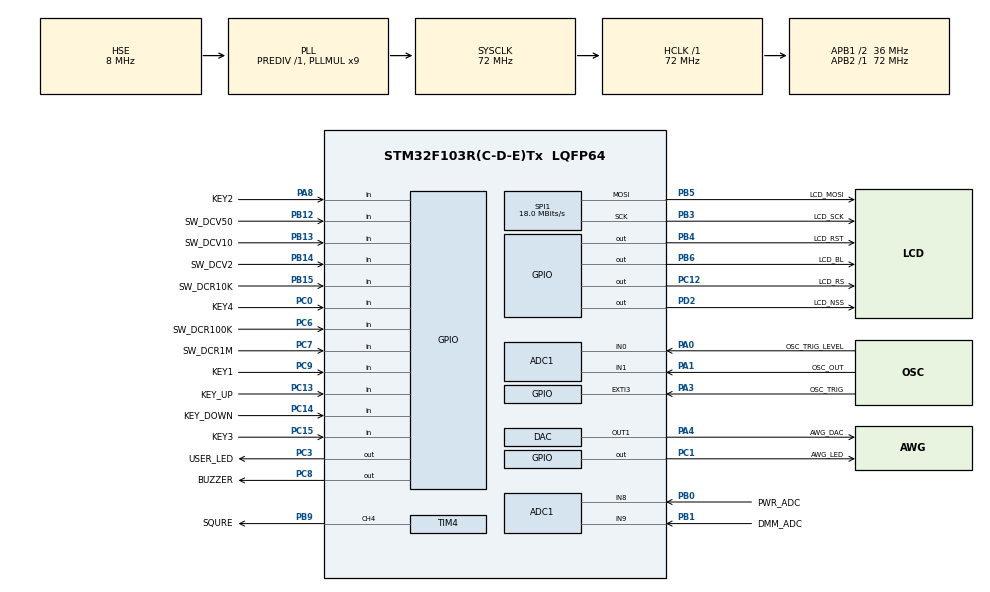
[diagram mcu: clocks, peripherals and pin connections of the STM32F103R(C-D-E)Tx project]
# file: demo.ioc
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ADC1.Channel-0\#ChannelRegularConversion=ADC_CHANNEL_1
ADC1.Channel-1\#ChannelInjectedConversion=ADC_CHANNEL_8
ADC1.Channel-2\#ChannelInjectedConversion=ADC_CHANNEL_9
ADC1.Channel-3\#ChannelInjectedConversion=ADC_CHANNEL_0
ADC1.Channel-4\#ChannelInjectedConversion=ADC_CHANNEL_VREFINT
ADC1.EnableInjectedConversion=ENABLE
ADC1.ExternalTrigConv=ADC_EXTERNALTRIGCONV_T3_TRGO
ADC1.ExternalTrigInjecConv=ADC_EXTERNALTRIGINJECCONV_T2_TRGO
ADC1.InjNumberOfConversion=4
ADC1.InjectedOffset-1\#ChannelInjectedConversion=0
ADC1.InjectedOffset-2\#ChannelInjectedConversion=0
ADC1.InjectedOffset-3\#ChannelInjectedConversion=0
ADC1.InjectedOffset-4\#ChannelInjectedConversion=0
ADC1.InjectedRank-1\#ChannelInjectedConversion=1
ADC1.InjectedRank-2\#ChannelInjectedConversion=2
ADC1.InjectedRank-3\#ChannelInjectedConversion=3
ADC1.InjectedRank-4\#ChannelInjectedConversion=4
ADC1.NbrOfConversionFlag=1
ADC1.Rank-0\#ChannelRegularConversion=1
ADC1.SamplingTime-0\#ChannelRegularConversion=ADC_SAMPLETIME_1CYCLE_5
ADC1.SamplingTime-1\#ChannelInjectedConversion=ADC_SAMPLETIME_1CYCLE_5
ADC1.SamplingTime-2\#ChannelInjectedConversion=ADC_SAMPLETIME_1CYCLE_5
ADC1.SamplingTime-3\#ChannelInjectedConversion=ADC_SAMPLETIME_1CYCLE_5
ADC1.SamplingTime-4\#ChannelInjectedConversion=ADC_SAMPLETIME_239CYCLES_5
ADC1.master=1
DAC.DAC_OutputBuffer=DAC_OUTPUTBUFFER_DISABLE
DAC.DAC_Trigger=DAC_TRIGGER_T5_TRGO
Dma.ADC1.0.Direction=DMA_PERIPH_TO_MEMORY
Dma.ADC1.0.Instance=DMA1_Channel1
Dma.ADC1.0.MemDataAlignment=DMA_MDATAALIGN_HALFWORD
Dma.ADC1.0.MemInc=DMA_MINC_ENABLE
Dma.ADC1.0.Mode=DMA_NORMAL
Dma.ADC1.0.PeriphDataAlignment=DMA_PDATAALIGN_HALFWORD
Dma.ADC1.0.PeriphInc=DMA_PINC_DISABLE
Dma.ADC1.0.Priority=DMA_PRIORITY_LOW
Dma.DAC_CH1.2.Direction=DMA_MEMORY_TO_PERIPH
Dma.DAC_CH1.2.Instance=DMA2_Channel3
Dma.DAC_CH1.2.MemDataAlignment=DMA_MDATAALIGN_HALFWORD
Dma.DAC_CH1.2.MemInc=DMA_MINC_ENABLE
Dma.DAC_CH1.2.Mode=DMA_CIRCULAR
Dma.DAC_CH1.2.PeriphDataAlignment=DMA_PDATAALIGN_HALFWORD
Dma.DAC_CH1.2.PeriphInc=DMA_PINC_DISABLE
Dma.DAC_CH1.2.Priority=DMA_PRIORITY_LOW
Dma.Request0=ADC1
Dma.Request1=SPI1_TX
Dma.Request2=DAC_CH1
Dma.SPI1_TX.1.Direction=DMA_MEMORY_TO_PERIPH
Dma.SPI1_TX.1.Instance=DMA1_Channel3
Dma.SPI1_TX.1.MemDataAlignment=DMA_MDATAALIGN_BYTE
Dma.SPI1_TX.1.MemInc=DMA_MINC_ENABLE
Dma.SPI1_TX.1.Mode=DMA_NORMAL
Dma.SPI1_TX.1.PeriphDataAlignment=DMA_PDATAALIGN_BYTE
Dma.SPI1_TX.1.PeriphInc=DMA_PINC_DISABLE
Dma.SPI1_TX.1.Priority=DMA_PRIORITY_LOW
Mcu.Family=STM32F1
Mcu.Name=STM32F103R(C-D-E)Tx
Mcu.Package=LQFP64
NVIC.ADC1_2_IRQn=true\:6\:0\:true\:false\:true\:true\:true\:true
NVIC.DMA1_Channel1_IRQn=true\:6\:0\:true\:false\:true\:false\:true\:true
NVIC.DMA1_Channel3_IRQn=true\:6\:0\:true\:false\:true\:false\:true\:true
NVIC.DMA2_Channel3_IRQn=true\:0\:0\:false\:false\:true\:false\:true\:true
NVIC.EXTI3_IRQn=true\:6\:0\:true\:false\:true\:true\:true\:true
NVIC.PriorityGroup=NVIC_PRIORITYGROUP_4
NVIC.TIM6_IRQn=true\:0\:0\:true\:false\:true\:false\:true\:true
NVIC.TimeBase=TIM6_IRQn
NVIC.TimeBaseIP=TIM6
PA0-WKUP.GPIO_Label=OSC_TRIG_LEVEL
PA0-WKUP.Signal=ADCx_IN0
PA1.GPIO_Label=OSC_OUT
PA1.Signal=ADCx_IN1
PA13.Mode=Serial_Wire
PA13.Signal=SYS_JTMS-SWDIO
PA14.Mode=Serial_Wire
PA14.Signal=SYS_JTCK-SWCLK
PA3.GPIO_Label=OSC_TRIG
PA3.Signal=GPXTI3
PA4.GPIO_Label=AWG_DAC
PA4.Signal=COMP_DAC1_group
PA8.GPIO_Label=KEY2
PA8.GPIO_PuPd=GPIO_PULLUP
PA8.Signal=GPIO_Input
PB0.GPIO_Label=PWR_ADC
PB0.Signal=ADCx_IN8
PB1.GPIO_Label=DMM_ADC
PB1.Signal=ADCx_IN9
PB12.GPIO_Label=SW_DCV50
PB12.GPIO_PuPd=GPIO_PULLDOWN
PB12.Signal=GPIO_Input
PB13.GPIO_Label=SW_DCV10
PB13.GPIO_PuPd=GPIO_PULLDOWN
PB13.Signal=GPIO_Input
PB14.GPIO_Label=SW_DCV2
PB14.GPIO_PuPd=GPIO_PULLDOWN
PB14.Signal=GPIO_Input
PB15.GPIO_Label=SW_DCR10K
PB15.GPIO_PuPd=GPIO_PULLDOWN
PB15.Signal=GPIO_Input
PB3.GPIO_Label=LCD_SCK
PB3.Mode=TX_Only_Simplex_Unidirect_Master
PB3.Signal=SPI1_SCK
PB4.GPIO_Label=LCD_RST
PB4.GPIO_Speed=GPIO_SPEED_FREQ_HIGH
PB4.PinState=GPIO_PIN_SET
PB4.Signal=GPIO_Output
PB5.GPIO_Label=LCD_MOSI
PB5.Mode=TX_Only_Simplex_Unidirect_Master
PB5.Signal=SPI1_MOSI
PB6.GPIO_Label=LCD_BL
PB6.PinState=GPIO_PIN_SET
PB6.Signal=GPIO_Output
PB9.GPIO_Label=SQURE
PB9.Signal=S_TIM4_CH4
PC0.GPIO_Label=KEY4
PC0.GPIO_PuPd=GPIO_PULLUP
PC0.Signal=GPIO_Input
PC1.GPIO_Label=AWG_LED
PC1.Signal=GPIO_Output
PC12.GPIO_Label=LCD_RS
PC12.GPIO_Speed=GPIO_SPEED_FREQ_HIGH
PC12.Signal=GPIO_Output
PC13-TAMPER-RTC.GPIO_Label=KEY_UP
PC13-TAMPER-RTC.GPIO_PuPd=GPIO_PULLUP
PC13-TAMPER-RTC.Signal=GPIO_Input
PC14-OSC32_IN.GPIO_Label=KEY_DOWN
PC14-OSC32_IN.GPIO_PuPd=GPIO_PULLUP
PC14-OSC32_IN.Signal=GPIO_Input
PC15-OSC32_OUT.GPIO_Label=KEY3
PC15-OSC32_OUT.GPIO_PuPd=GPIO_PULLUP
PC15-OSC32_OUT.Signal=GPIO_Input
PC3.GPIO_Label=USER_LED
PC3.Signal=GPIO_Output
PC6.GPIO_Label=SW_DCR100K
PC6.GPIO_PuPd=GPIO_PULLDOWN
PC6.Signal=GPIO_Input
PC7.GPIO_Label=SW_DCR1M
PC7.GPIO_PuPd=GPIO_PULLDOWN
PC7.Signal=GPIO_Input
PC8.GPIO_Label=BUZZER
PC8.Signal=GPIO_Output
PC9.GPIO_Label=KEY1
PC9.GPIO_PuPd=GPIO_PULLUP
PC9.Signal=GPIO_Input
PD0-OSC_IN.Mode=HSE-External-Oscillator
PD0-OSC_IN.Signal=RCC_OSC_IN
PD1-OSC_OUT.Mode=HSE-External-Oscillator
PD1-OSC_OUT.Signal=RCC_OSC_OUT
PD2.GPIO_Label=LCD_NSS
PD2.GPIO_Speed=GPIO_SPEED_FREQ_HIGH
PD2.PinState=GPIO_PIN_SET
PD2.Signal=GPIO_Output
ProjectManager.HeapSize=0x200
ProjectManager.StackSize=0x200
ProjectManager.TargetToolchain=STM32CubeIDE
RCC.ADCPresc=RCC_ADCPCLK2_DIV6
RCC.AHBFreq_Value=72000000
RCC.APB1CLKDivider=RCC_HCLK_DIV2
RCC.APB1Freq_Value=36000000
RCC.APB1TimFreq_Value=72000000
RCC.APB2Freq_Value=72000000
RCC.APB2TimFreq_Value=72000000
RCC.HCLKFreq_Value=72000000
RCC.PLLMUL=RCC_PLL_MUL9
RCC.PLLSourceVirtual=RCC_PLLSOURCE_HSE
RCC.SYSCLKFreq_VALUE=72000000
RCC.SYSCLKSource=RCC_SYSCLKSOURCE_PLLCLK
RCC.USBFreq_Value=72000000
SH.ADCx_IN0.0=ADC1_IN0,IN0
SH.ADCx_IN1.0=ADC1_IN1,IN1
SH.ADCx_IN8.0=ADC1_IN8,IN8
SH.ADCx_IN9.0=ADC1_IN9,IN9
SH.COMP_DAC1_group.0=DAC_OUT1,DAC_OUT1
SH.S_TIM4_CH4.0=TIM4_CH4,PWM Generation4 CH4
SPI1.BaudRatePrescaler=SPI_BAUDRATEPRESCALER_4
SPI1.CalculateBaudRate=18.0 MBits/s
SPI1.Direction=SPI_DIRECTION_2LINES
SPI1.Mode=SPI_MODE_MASTER
SPI1.VirtualType=VM_MASTER
TIM2.Period=999
TIM2.Prescaler=7199
TIM2.TIM_MasterOutputTrigger=TIM_TRGO_UPDATE
TIM3.AutoReloadPreload=TIM_AUTORELOAD_PRELOAD_ENABLE
TIM3.Period=1
TIM3.Prescaler=5
TIM3.TIM_MasterOutputTrigger=TIM_TRGO_UPDATE
TIM4.Channel-PWM\ Generation4\ CH4=TIM_CHANNEL_4
TIM4.Period=999
TIM4.Prescaler=71
TIM4.Pulse-PWM\ Generation4\ CH4=499
TIM5.AutoReloadPreload=TIM_AUTORELOAD_PRELOAD_ENABLE
TIM5.Period=1
TIM5.Prescaler=71
TIM5.TIM_MasterOutputTrigger=TIM_TRGO_UPDATE
VP_ADC1_Vref_Input.Mode=IN-Vrefint
VP_SYS_VS_tim6.Mode=TIM6
VP_TIM2_VS_ClockSourceINT.Mode=Internal
VP_TIM3_VS_ClockSourceINT.Mode=Internal
VP_TIM4_VS_ClockSourceINT.Mode=Internal
VP_TIM5_VS_ClockSourceINT.Mode=Internal
board=custom

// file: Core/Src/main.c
/* USER CODE BEGIN Header */
/**
  ******************************************************************************
  * @file           : main.c
  * @brief          : Main program body
  ******************************************************************************
  * @attention
  *
  * Copyright (c) 2025 STMicroelectronics.
  * All rights reserved.
  *
  * This software is licensed under terms that can be found in the LICENSE file
  * in the root directory of this software component.
  * If no LICENSE file comes with this software, it is provided AS-IS.
  *
  ******************************************************************************
  */
/* USER CODE END Header */
#include "main.h"

/* USER CODE BEGIN Includes */
#include "FreeRTOS.h"
#include "task.h"
#include "key_task.h"
#include "lcd_task.h"
#include "led_task.h"
#include "jadc.h"
#include "waveform_capturer.h"
#include "waveform_generator.h"
#include "buzzer_task.h"
/* USER CODE END Includes */

ADC_HandleTypeDef hadc1;
DMA_HandleTypeDef hdma_adc1;

DAC_HandleTypeDef hdac;
DMA_HandleTypeDef hdma_dac_ch1;

SPI_HandleTypeDef hspi1;
DMA_HandleTypeDef hdma_spi1_tx;

TIM_HandleTypeDef htim2;
TIM_HandleTypeDef htim3;
TIM_HandleTypeDef htim4;
TIM_HandleTypeDef htim5;

/* USER CODE BEGIN PV */
TaskHandle_t lcdTask; // 显示屏任务
TaskHandle_t keyTask; // 按钮检测任务
/* USER CODE END PV */

void SystemClock_Config(void);
static void MX_GPIO_Init(void);
static void MX_DMA_Init(void);
static void MX_ADC1_Init(void);
static void MX_TIM3_Init(void);
static void MX_DAC_Init(void);
static void MX_TIM5_Init(void);
static void MX_SPI1_Init(void);
static void MX_TIM4_Init(void);
static void MX_TIM2_Init(void);

int main(void)
{

  /* MCU Configuration--------------------------------------------------------*/

  /* Reset of all peripherals, Initializes the Flash interface and the Systick. */
  HAL_Init();

  /* Configure the system clock */
  SystemClock_Config();

  /* Initialize all configured peripherals */
  MX_GPIO_Init();
  MX_DMA_Init();
  MX_ADC1_Init();
  MX_TIM3_Init();
  MX_DAC_Init();
  MX_TIM5_Init();
  MX_SPI1_Init();
  MX_TIM4_Init();
  MX_TIM2_Init();
  /* USER CODE BEGIN 2 */
  vLCDInit();
  JADC_Init();
  WaveformCapture_Init();
  WaveformGenerator_Init();
  Buzzer_Init();

  xTaskCreate(vLEDTask, "LED Task", 128, NULL, 1, NULL);
  xTaskCreate(vLCDTask, "LCD Task", 256, NULL, 1, &lcdTask);
  xTaskCreate(vKeyTask, "Button Task", 128, NULL, 2, &keyTask);
  xTaskCreate(vBuzzerTask, "Buzzer Task", 128, NULL, 1, NULL);

  vTaskStartScheduler();
  /* USER CODE END 2 */

  /* Infinite loop */
  while (1)
  {

  }
}

void SystemClock_Config(void)
{
  RCC_OscInitTypeDef RCC_OscInitStruct = {0};
  RCC_ClkInitTypeDef RCC_ClkInitStruct = {0};
  RCC_PeriphCLKInitTypeDef PeriphClkInit = {0};

  /** Initializes the RCC Oscillators according to the specified parameters
  * in the RCC_OscInitTypeDef structure.
  */
  RCC_OscInitStruct.OscillatorType = RCC_OSCILLATORTYPE_HSE;
  RCC_OscInitStruct.HSEState = RCC_HSE_ON;
  RCC_OscInitStruct.HSEPredivValue = RCC_HSE_PREDIV_DIV1;
  RCC_OscInitStruct.HSIState = RCC_HSI_ON;
  RCC_OscInitStruct.PLL.PLLState = RCC_PLL_ON;
  RCC_OscInitStruct.PLL.PLLSource = RCC_PLLSOURCE_HSE;
  RCC_OscInitStruct.PLL.PLLMUL = RCC_PLL_MUL9;
  if (HAL_RCC_OscConfig(&RCC_OscInitStruct) != HAL_OK)
  {
    Error_Handler();
  }

  /** Initializes the CPU, AHB and APB buses clocks
  */
  RCC_ClkInitStruct.ClockType = RCC_CLOCKTYPE_HCLK|RCC_CLOCKTYPE_SYSCLK
                              |RCC_CLOCKTYPE_PCLK1|RCC_CLOCKTYPE_PCLK2;
  RCC_ClkInitStruct.SYSCLKSource = RCC_SYSCLKSOURCE_PLLCLK;
  RCC_ClkInitStruct.AHBCLKDivider = RCC_SYSCLK_DIV1;
  RCC_ClkInitStruct.APB1CLKDivider = RCC_HCLK_DIV2;
  RCC_ClkInitStruct.APB2CLKDivider = RCC_HCLK_DIV1;

  if (HAL_RCC_ClockConfig(&RCC_ClkInitStruct, FLASH_LATENCY_2) != HAL_OK)
  {
    Error_Handler();
  }
  PeriphClkInit.PeriphClockSelection = RCC_PERIPHCLK_ADC;
  PeriphClkInit.AdcClockSelection = RCC_ADCPCLK2_DIV6;
  if (HAL_RCCEx_PeriphCLKConfig(&PeriphClkInit) != HAL_OK)
  {
    Error_Handler();
  }
}

static void MX_ADC1_Init(void)
{

  ADC_ChannelConfTypeDef sConfig = {0};
  ADC_InjectionConfTypeDef sConfigInjected = {0};

  /** Common config
  */
  hadc1.Instance = ADC1;
  hadc1.Init.ScanConvMode = ADC_SCAN_ENABLE;
  hadc1.Init.ContinuousConvMode = DISABLE;
  hadc1.Init.DiscontinuousConvMode = DISABLE;
  hadc1.Init.ExternalTrigConv = ADC_EXTERNALTRIGCONV_T3_TRGO;
  hadc1.Init.DataAlign = ADC_DATAALIGN_RIGHT;
  hadc1.Init.NbrOfConversion = 1;
  if (HAL_ADC_Init(&hadc1) != HAL_OK)
  {
    Error_Handler();
  }

  /** Configure Regular Channel
  */
  sConfig.Channel = ADC_CHANNEL_1;
  sConfig.Rank = ADC_REGULAR_RANK_1;
  sConfig.SamplingTime = ADC_SAMPLETIME_1CYCLE_5;
  if (HAL_ADC_ConfigChannel(&hadc1, &sConfig) != HAL_OK)
  {
    Error_Handler();
  }

  /** Configure Injected Channel
  */
  sConfigInjected.InjectedChannel = ADC_CHANNEL_8;
  sConfigInjected.InjectedRank = ADC_INJECTED_RANK_1;
  sConfigInjected.InjectedNbrOfConversion = 4;
  sConfigInjected.InjectedSamplingTime = ADC_SAMPLETIME_1CYCLE_5;
  sConfigInjected.ExternalTrigInjecConv = ADC_EXTERNALTRIGINJECCONV_T2_TRGO;
  sConfigInjected.AutoInjectedConv = DISABLE;
  sConfigInjected.InjectedDiscontinuousConvMode = DISABLE;
  sConfigInjected.InjectedOffset = 0;
  if (HAL_ADCEx_InjectedConfigChannel(&hadc1, &sConfigInjected) != HAL_OK)
  {
    Error_Handler();
  }

  /** Configure Injected Channel
  */
  sConfigInjected.InjectedChannel = ADC_CHANNEL_9;
  sConfigInjected.InjectedRank = ADC_INJECTED_RANK_2;
  if (HAL_ADCEx_InjectedConfigChannel(&hadc1, &sConfigInjected) != HAL_OK)
  {
    Error_Handler();
  }

  /** Configure Injected Channel
  */
  sConfigInjected.InjectedChannel = ADC_CHANNEL_0;
  sConfigInjected.InjectedRank = ADC_INJECTED_RANK_3;
  if (HAL_ADCEx_InjectedConfigChannel(&hadc1, &sConfigInjected) != HAL_OK)
  {
    Error_Handler();
  }

  /** Configure Injected Channel
  */
  sConfigInjected.InjectedChannel = ADC_CHANNEL_VREFINT;
  sConfigInjected.InjectedRank = ADC_INJECTED_RANK_4;
  sConfigInjected.InjectedSamplingTime = ADC_SAMPLETIME_239CYCLES_5;
  if (HAL_ADCEx_InjectedConfigChannel(&hadc1, &sConfigInjected) != HAL_OK)
  {
    Error_Handler();
  }

}

static void MX_DAC_Init(void)
{

  DAC_ChannelConfTypeDef sConfig = {0};

  /** DAC Initialization
  */
  hdac.Instance = DAC;
  if (HAL_DAC_Init(&hdac) != HAL_OK)
  {
    Error_Handler();
  }

  /** DAC channel OUT1 config
  */
  sConfig.DAC_Trigger = DAC_TRIGGER_T5_TRGO;
  sConfig.DAC_OutputBuffer = DAC_OUTPUTBUFFER_DISABLE;
  if (HAL_DAC_ConfigChannel(&hdac, &sConfig, DAC_CHANNEL_1) != HAL_OK)
  {
    Error_Handler();
  }

}

static void MX_SPI1_Init(void)
{

  /* SPI1 parameter configuration*/
  hspi1.Instance = SPI1;
  hspi1.Init.Mode = SPI_MODE_MASTER;
  hspi1.Init.Direction = SPI_DIRECTION_2LINES;
  hspi1.Init.DataSize = SPI_DATASIZE_8BIT;
  hspi1.Init.CLKPolarity = SPI_POLARITY_LOW;
  hspi1.Init.CLKPhase = SPI_PHASE_1EDGE;
  hspi1.Init.NSS = SPI_NSS_SOFT;
  hspi1.Init.BaudRatePrescaler = SPI_BAUDRATEPRESCALER_4;
  hspi1.Init.FirstBit = SPI_FIRSTBIT_MSB;
  hspi1.Init.TIMode = SPI_TIMODE_DISABLE;
  hspi1.Init.CRCCalculation = SPI_CRCCALCULATION_DISABLE;
  hspi1.Init.CRCPolynomial = 10;
  if (HAL_SPI_Init(&hspi1) != HAL_OK)
  {
    Error_Handler();
  }

}

static void MX_TIM2_Init(void)
{

  TIM_ClockConfigTypeDef sClockSourceConfig = {0};
  TIM_MasterConfigTypeDef sMasterConfig = {0};

  htim2.Instance = TIM2;
  htim2.Init.Prescaler = 7199;
  htim2.Init.CounterMode = TIM_COUNTERMODE_UP;
  htim2.Init.Period = 999;
  htim2.Init.ClockDivision = TIM_CLOCKDIVISION_DIV1;
  htim2.Init.AutoReloadPreload = TIM_AUTORELOAD_PRELOAD_DISABLE;
  if (HAL_TIM_Base_Init(&htim2) != HAL_OK)
  {
    Error_Handler();
  }
  sClockSourceConfig.ClockSource = TIM_CLOCKSOURCE_INTERNAL;
  if (HAL_TIM_ConfigClockSource(&htim2, &sClockSourceConfig) != HAL_OK)
  {
    Error_Handler();
  }
  sMasterConfig.MasterOutputTrigger = TIM_TRGO_UPDATE;
  sMasterConfig.MasterSlaveMode = TIM_MASTERSLAVEMODE_DISABLE;
  if (HAL_TIMEx_MasterConfigSynchronization(&htim2, &sMasterConfig) != HAL_OK)
  {
    Error_Handler();
  }

}

static void MX_TIM3_Init(void)
{

  TIM_ClockConfigTypeDef sClockSourceConfig = {0};
  TIM_MasterConfigTypeDef sMasterConfig = {0};

  htim3.Instance = TIM3;
  htim3.Init.Prescaler = 5;
  htim3.Init.CounterMode = TIM_COUNTERMODE_UP;
  htim3.Init.Period = 1;
  htim3.Init.ClockDivision = TIM_CLOCKDIVISION_DIV1;
  htim3.Init.AutoReloadPreload = TIM_AUTORELOAD_PRELOAD_ENABLE;
  if (HAL_TIM_Base_Init(&htim3) != HAL_OK)
  {
    Error_Handler();
  }
  sClockSourceConfig.ClockSource = TIM_CLOCKSOURCE_INTERNAL;
  if (HAL_TIM_ConfigClockSource(&htim3, &sClockSourceConfig) != HAL_OK)
  {
    Error_Handler();
  }
  sMasterConfig.MasterOutputTrigger = TIM_TRGO_UPDATE;
  sMasterConfig.MasterSlaveMode = TIM_MASTERSLAVEMODE_DISABLE;
  if (HAL_TIMEx_MasterConfigSynchronization(&htim3, &sMasterConfig) != HAL_OK)
  {
    Error_Handler();
  }

}

static void MX_TIM4_Init(void)
{

  TIM_ClockConfigTypeDef sClockSourceConfig = {0};
  TIM_MasterConfigTypeDef sMasterConfig = {0};
  TIM_OC_InitTypeDef sConfigOC = {0};

  htim4.Instance = TIM4;
  htim4.Init.Prescaler = 71;
  htim4.Init.CounterMode = TIM_COUNTERMODE_UP;
  htim4.Init.Period = 999;
  htim4.Init.ClockDivision = TIM_CLOCKDIVISION_DIV1;
  htim4.Init.AutoReloadPreload = TIM_AUTORELOAD_PRELOAD_DISABLE;
  if (HAL_TIM_Base_Init(&htim4) != HAL_OK)
  {
    Error_Handler();
  }
  sClockSourceConfig.ClockSource = TIM_CLOCKSOURCE_INTERNAL;
  if (HAL_TIM_ConfigClockSource(&htim4, &sClockSourceConfig) != HAL_OK)
  {
    Error_Handler();
  }
  if (HAL_TIM_PWM_Init(&htim4) != HAL_OK)
  {
    Error_Handler();
  }
  sMasterConfig.MasterOutputTrigger = TIM_TRGO_RESET;
  sMasterConfig.MasterSlaveMode = TIM_MASTERSLAVEMODE_DISABLE;
  if (HAL_TIMEx_MasterConfigSynchronization(&htim4, &sMasterConfig) != HAL_OK)
  {
    Error_Handler();
  }
  sConfigOC.OCMode = TIM_OCMODE_PWM1;
  sConfigOC.Pulse = 499;
  sConfigOC.OCPolarity = TIM_OCPOLARITY_HIGH;
  sConfigOC.OCFastMode = TIM_OCFAST_DISABLE;
  if (HAL_TIM_PWM_ConfigChannel(&htim4, &sConfigOC, TIM_CHANNEL_4) != HAL_OK)
  {
    Error_Handler();
  }
  HAL_TIM_MspPostInit(&htim4);

}

static void MX_TIM5_Init(void)
{

  TIM_ClockConfigTypeDef sClockSourceConfig = {0};
  TIM_MasterConfigTypeDef sMasterConfig = {0};

  htim5.Instance = TIM5;
  htim5.Init.Prescaler = 71;
  htim5.Init.CounterMode = TIM_COUNTERMODE_UP;
  htim5.Init.Period = 1;
  htim5.Init.ClockDivision = TIM_CLOCKDIVISION_DIV1;
  htim5.Init.AutoReloadPreload = TIM_AUTORELOAD_PRELOAD_ENABLE;
  if (HAL_TIM_Base_Init(&htim5) != HAL_OK)
  {
    Error_Handler();
  }
  sClockSourceConfig.ClockSource = TIM_CLOCKSOURCE_INTERNAL;
  if (HAL_TIM_ConfigClockSource(&htim5, &sClockSourceConfig) != HAL_OK)
  {
    Error_Handler();
  }
  sMasterConfig.MasterOutputTrigger = TIM_TRGO_UPDATE;
  sMasterConfig.MasterSlaveMode = TIM_MASTERSLAVEMODE_DISABLE;
  if (HAL_TIMEx_MasterConfigSynchronization(&htim5, &sMasterConfig) != HAL_OK)
  {
    Error_Handler();
  }

}

static void MX_DMA_Init(void)
{

  /* DMA controller clock enable */
  __HAL_RCC_DMA1_CLK_ENABLE();
  __HAL_RCC_DMA2_CLK_ENABLE();

  /* DMA interrupt init */
  /* DMA1_Channel1_IRQn interrupt configuration */
  HAL_NVIC_SetPriority(DMA1_Channel1_IRQn, 6, 0);
  HAL_NVIC_EnableIRQ(DMA1_Channel1_IRQn);
  /* DMA1_Channel3_IRQn interrupt configuration */
  HAL_NVIC_SetPriority(DMA1_Channel3_IRQn, 6, 0);
  HAL_NVIC_EnableIRQ(DMA1_Channel3_IRQn);
  /* DMA2_Channel3_IRQn interrupt configuration */
  HAL_NVIC_SetPriority(DMA2_Channel3_IRQn, 0, 0);
  HAL_NVIC_EnableIRQ(DMA2_Channel3_IRQn);

}

static void MX_GPIO_Init(void)
{
  GPIO_InitTypeDef GPIO_InitStruct = {0};

  /* GPIO Ports Clock Enable */
  __HAL_RCC_GPIOC_CLK_ENABLE();
  __HAL_RCC_GPIOD_CLK_ENABLE();
  __HAL_RCC_GPIOA_CLK_ENABLE();
  __HAL_RCC_GPIOB_CLK_ENABLE();

  /*Configure GPIO pin Output Level */
  HAL_GPIO_WritePin(GPIOC, AWG_LED_Pin|USER_LED_Pin|BUZZER_Pin|LCD_RS_Pin, GPIO_PIN_RESET);

  /*Configure GPIO pin Output Level */
  HAL_GPIO_WritePin(LCD_NSS_GPIO_Port, LCD_NSS_Pin, GPIO_PIN_SET);

  /*Configure GPIO pin Output Level */
  HAL_GPIO_WritePin(GPIOB, LCD_RST_Pin|LCD_BL_Pin, GPIO_PIN_SET);

  /*Configure GPIO pins : KEY_UP_Pin KEY_DOWN_Pin KEY3_Pin KEY4_Pin
                           KEY1_Pin */
  GPIO_InitStruct.Pin = KEY_UP_Pin|KEY_DOWN_Pin|KEY3_Pin|KEY4_Pin
                          |KEY1_Pin;
  GPIO_InitStruct.Mode = GPIO_MODE_INPUT;
  GPIO_InitStruct.Pull = GPIO_PULLUP;
  HAL_GPIO_Init(GPIOC, &GPIO_InitStruct);

  /*Configure GPIO pins : AWG_LED_Pin USER_LED_Pin BUZZER_Pin */
  GPIO_InitStruct.Pin = AWG_LED_Pin|USER_LED_Pin|BUZZER_Pin;
  GPIO_InitStruct.Mode = GPIO_MODE_OUTPUT_PP;
  GPIO_InitStruct.Pull = GPIO_NOPULL;
  GPIO_InitStruct.Speed = GPIO_SPEED_FREQ_LOW;
  HAL_GPIO_Init(GPIOC, &GPIO_InitStruct);

  /*Configure GPIO pin : OSC_TRIG_Pin */
  GPIO_InitStruct.Pin = OSC_TRIG_Pin;
  GPIO_InitStruct.Mode = GPIO_MODE_IT_RISING;
  GPIO_InitStruct.Pull = GPIO_NOPULL;
  HAL_GPIO_Init(OSC_TRIG_GPIO_Port, &GPIO_InitStruct);

  /*Configure GPIO pins : SW_DCV50_Pin SW_DCV10_Pin SW_DCV2_Pin SW_DCR10K_Pin */
  GPIO_InitStruct.Pin = SW_DCV50_Pin|SW_DCV10_Pin|SW_DCV2_Pin|SW_DCR10K_Pin;
  GPIO_InitStruct.Mode = GPIO_MODE_INPUT;
  GPIO_InitStruct.Pull = GPIO_PULLDOWN;
  HAL_GPIO_Init(GPIOB, &GPIO_InitStruct);

  /*Configure GPIO pins : SW_DCR100K_Pin SW_DCR1M_Pin */
  GPIO_InitStruct.Pin = SW_DCR100K_Pin|SW_DCR1M_Pin;
  GPIO_InitStruct.Mode = GPIO_MODE_INPUT;
  GPIO_InitStruct.Pull = GPIO_PULLDOWN;
  HAL_GPIO_Init(GPIOC, &GPIO_InitStruct);

  /*Configure GPIO pin : KEY2_Pin */
  GPIO_InitStruct.Pin = KEY2_Pin;
  GPIO_InitStruct.Mode = GPIO_MODE_INPUT;
  GPIO_InitStruct.Pull = GPIO_PULLUP;
  HAL_GPIO_Init(KEY2_GPIO_Port, &GPIO_InitStruct);

  /*Configure GPIO pin : LCD_RS_Pin */
  GPIO_InitStruct.Pin = LCD_RS_Pin;
  GPIO_InitStruct.Mode = GPIO_MODE_OUTPUT_PP;
  GPIO_InitStruct.Pull = GPIO_NOPULL;
  GPIO_InitStruct.Speed = GPIO_SPEED_FREQ_HIGH;
  HAL_GPIO_Init(LCD_RS_GPIO_Port, &GPIO_InitStruct);

  /*Configure GPIO pin : LCD_NSS_Pin */
  GPIO_InitStruct.Pin = LCD_NSS_Pin;
  GPIO_InitStruct.Mode = GPIO_MODE_OUTPUT_PP;
  GPIO_InitStruct.Pull = GPIO_NOPULL;
  GPIO_InitStruct.Speed = GPIO_SPEED_FREQ_HIGH;
  HAL_GPIO_Init(LCD_NSS_GPIO_Port, &GPIO_InitStruct);

  /*Configure GPIO pin : LCD_RST_Pin */
  GPIO_InitStruct.Pin = LCD_RST_Pin;
  GPIO_InitStruct.Mode = GPIO_MODE_OUTPUT_PP;
  GPIO_InitStruct.Pull = GPIO_NOPULL;
  GPIO_InitStruct.Speed = GPIO_SPEED_FREQ_HIGH;
  HAL_GPIO_Init(LCD_RST_GPIO_Port, &GPIO_InitStruct);

  /*Configure GPIO pin : LCD_BL_Pin */
  GPIO_InitStruct.Pin = LCD_BL_Pin;
  GPIO_InitStruct.Mode = GPIO_MODE_OUTPUT_PP;
  GPIO_InitStruct.Pull = GPIO_NOPULL;
  GPIO_InitStruct.Speed = GPIO_SPEED_FREQ_LOW;
  HAL_GPIO_Init(LCD_BL_GPIO_Port, &GPIO_InitStruct);

  /* EXTI interrupt init*/
  HAL_NVIC_SetPriority(EXTI3_IRQn, 6, 0);
  HAL_NVIC_EnableIRQ(EXTI3_IRQn);

}

void HAL_TIM_PeriodElapsedCallback(TIM_HandleTypeDef *htim)
{
  if (htim->Instance == TIM6)
  {
    HAL_IncTick();
  }
}

void Error_Handler(void)
{
  __disable_irq();
  while (1)
  {
  }
}
